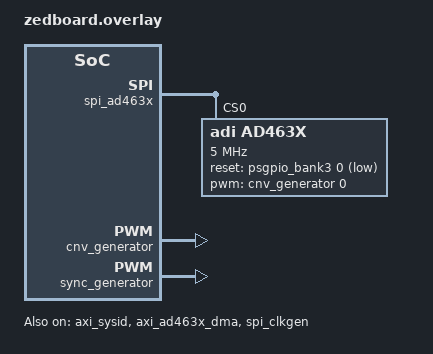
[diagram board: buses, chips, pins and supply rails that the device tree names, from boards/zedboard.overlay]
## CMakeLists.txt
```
cmake_minimum_required(VERSION 3.20.0)
find_package(Zephyr REQUIRED HINTS $ENV{ZEPHYR_BASE})
project(ad463x)

target_sources(app PRIVATE src/main.c)
```

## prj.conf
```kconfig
CONFIG_OTP=y
CONFIG_OTP_ADI_AXI_SYSID=y
CONFIG_CLOCK_CONTROL=y
CONFIG_CLOCK_CONTROL_ADI_AXI_CLKGEN=y
CONFIG_DMA=y
CONFIG_DMA_ADI_AXI_DMAC=y
CONFIG_PWM=y
CONFIG_PWM_ADI_AXI_PWMGEN=y
CONFIG_SPI=y
CONFIG_SPI_ADI_AXI_SPI_ENGINE=y
CONFIG_GPIO=y
CONFIG_ADC=y
CONFIG_ADC_AD463X=y
CONFIG_LOG=y
# Debug: synchronous logging so we see output up to the exact hang point,
# instead of deferred logs that never flush if boot hangs early.
CONFIG_LOG_MODE_IMMEDIATE=y
CONFIG_CACHE_MANAGEMENT=y
CONFIG_NOCACHE_MEMORY=y
```

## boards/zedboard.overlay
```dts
/*
 * Copyright (c) 2026 Analog Devices, Inc.
 * SPDX-License-Identifier: Apache-2.0
 *
 * AD4630-20 FMC card on Zedboard. Describes the AXI peripherals
 * synthesized in the PL alongside the AD4630 reference HDL design.
 */

#include <zephyr/dt-bindings/interrupt-controller/arm-gic.h>
#include <zephyr/dt-bindings/gpio/gpio.h>
#include <zephyr/dt-bindings/pwm/pwm.h>

/ {
	soc {
		axi_sysid: axi-sysid@45000000 {
			compatible = "adi,axi-sysid";
			reg = <0x45000000 0x10000>;
			status = "okay";
		};

		spi_ad463x: axi-spi-engine@44a00000 {
			compatible = "adi,axi-spi-engine";
			reg = <0x44a00000 0x10000>;
			#address-cells = <1>;
			#size-cells = <0>;
			adi,ref-clock-hz = <160000000>;
			adi,data-width = <8>;
			adi,num-cs = <1>;
			status = "okay";

			ad463x: ad463x@0 {
				compatible = "adi,ad463x";
				reg = <0>;
				spi-max-frequency = <5000000>;
				#address-cells = <1>;
				#size-cells = <0>;
				#io-channel-cells = <1>;
				adi,part = "ad4630-20";
				dmas = <&axi_ad463x_dma 0>;
				dma-names = "rx";
				clocks = <&spi_clkgen>;
				pwms = <&cnv_generator 0 500 PWM_POLARITY_NORMAL>;
				adi,vref-microvolts = <5000000>;
				adi,axi-clkgen-rate-hz = <160000000>;
				adi,sample-rate-hz = <2000000>;
				adi,lane-mode = "two";
				adi,clock-mode = "spi-compat";
				adi,output-mode = "24-diff-8-com";
				/* adi,avg-frame-len = <4>; */
				/* opt-in: 30-AVERAGED_DIFF; set AD463X_REAL_BITS to 30 */
				adi,data-rate = "sdr";
				reset-gpios = <&psgpio_bank3 0 GPIO_ACTIVE_LOW>;
				status = "okay";
			};
		};

		axi_ad463x_dma: axi-dmac@44a30000 {
			compatible = "adi,axi-dmac";
			reg = <0x44a30000 0x1000>;
			interrupts = <GIC_SPI 57 IRQ_TYPE_LEVEL
				      IRQ_DEFAULT_PRIORITY>;
			#dma-cells = <1>;
			status = "okay";
		};

		spi_clkgen: axi-clkgen@44a70000 {
			compatible = "adi,axi-clkgen";
			reg = <0x44a70000 0x10000>;
			clock-frequency = <100000000>;
			#clock-cells = <0>;
			status = "okay";
		};

		cnv_generator: axi-pwmgen@44b00000 {
			compatible = "adi,axi-pwmgen";
			reg = <0x44b00000 0x10000>;
			adi,ref-clock-hz = <100000000>;
			#pwm-cells = <3>;
			status = "okay";
		};

		sync_generator: axi-pwmgen@44c00000 {
			compatible = "adi,axi-pwmgen";
			reg = <0x44c00000 0x10000>;
			adi,ref-clock-hz = <100000000>;
			#pwm-cells = <3>;
			status = "okay";
		};
	};
};
```

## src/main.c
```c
/*
 * Copyright (c) 2026 Analog Devices, Inc.
 * SPDX-License-Identifier: Apache-2.0
 *
 * AD463x sample: capture conversion data from an AD4630/AD4631/AD4632
 * precision SAR ADC over the AXI offload data path
 * (PWMGEN CNV -> SPI Engine -> DMAC -> DDR) and print decoded codes for
 * both channels. First a one-shot batch, then continuous streaming.
 */

#include <stdio.h>
#include <zephyr/kernel.h>
#include <zephyr/device.h>
#include <zephyr/drivers/adc/ad463x.h>

#include "sysid_decode.h"

#define BATCH_SAMPLES  64
#define STREAM_SAMPLES 8

static uint32_t __nocache __aligned(32) batch_buf[BATCH_SAMPLES * 2];
static uint32_t __nocache __aligned(32) stream_buf[STREAM_SAMPLES * 2];

/*
 * The HDL left-aligns the real bits in each 32-bit word, so a code is
 * recovered with (int32_t)word >> (32 - real_bits). real_bits depends on
 * the driver's resolved adi,output-mode, so it is queried rather than
 * hardcoded here.
 */
static inline int32_t ad463x_code(const struct device *dev, uint32_t word)
{
	return (int32_t)word >> (32 - ad463x_get_real_bits(dev));
}

/* Print FPGA build information from the AXI System ID ROM, if one is present. */
static void print_board_info(void)
{
#if DT_NODE_EXISTS(DT_NODELABEL(axi_sysid))
	const struct device *sysid = DEVICE_DT_GET(DT_NODELABEL(axi_sysid));
	struct sysid_board_info info;

	if (!device_is_ready(sysid) || sysid_get_board_info(sysid, &info) != 0) {
		return;
	}

	printf("FPGA design: %s / %s (git %.12s%s)\n", info.board[0] ? info.board : "unknown",
	       info.product[0] ? info.product : "unknown",
	       info.git_hash[0] ? info.git_hash : "unknown", info.git_clean ? "" : "-dirty");
#endif
}

/* One-shot batch capture: fill batch_buf, then decode and print every sample. */
static int batch_capture(const struct device *dev)
{
	size_t frame = ad463x_get_frame_size(dev);
	ssize_t got;
	int n;

	printf("\n=== Batch capture (%d samples) ===\n", BATCH_SAMPLES);

	got = ad463x_read_buffer(dev, batch_buf, sizeof(batch_buf));
	if (got < 0) {
		printf("read_buffer failed: %d\n", (int)got);
		return (int)got;
	}

	n = (int)((size_t)got / frame);
	printf("%-12s %s\n", "channel 0", "channel 1");
	for (int i = 0; i < n; i++) {
		printf("%-12d %d\n", ad463x_code(dev, batch_buf[2 * i]),
		       ad463x_code(dev, batch_buf[2 * i + 1]));
	}

	return 0;
}

/* Continuous streaming: capture back-to-back bursts and print each one. */
static void stream_loop(const struct device *dev)
{
	size_t frame = ad463x_get_frame_size(dev);

	printf("\n=== Continuous stream ===\n");
	printf("%-12s %s\n", "channel 0", "channel 1");

	while (1) {
		ssize_t got = ad463x_read_buffer(dev, stream_buf, sizeof(stream_buf));

		if (got < 0) {
			printf("read_buffer failed: %d\n", (int)got);
			k_msleep(500);
			continue;
		}

		int n = (int)((size_t)got / frame);

		for (int i = 0; i < n; i++) {
			printf("%-12d %d\n", ad463x_code(dev, stream_buf[2 * i]),
			       ad463x_code(dev, stream_buf[2 * i + 1]));
		}

		k_msleep(500);
	}
}

int main(void)
{
	const struct device *dev = DEVICE_DT_GET(DT_NODELABEL(ad463x));

	if (!device_is_ready(dev)) {
		printf("AD463x device not ready\n");
		return 0;
	}

	print_board_info();

	if (batch_capture(dev) == 0) {
		stream_loop(dev);
	}

	return 0;
}
```

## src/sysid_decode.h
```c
/*
 * Copyright (c) 2026 Analog Devices, Inc.
 * SPDX-License-Identifier: Apache-2.0
 *
 * ADI AXI System ID ROM decode helper.
 *
 * The AXI System ID core is exposed by Zephyr as a read-only OTP (the
 * transport). The ROM *format* — header, build-info records and checksums —
 * is decoded here, on top of the standard otp_read() API, so the ROM-format
 * knowledge lives with the consumer instead of inside the transport driver.
 */

#ifndef AD463X_SAMPLE_SYSID_DECODE_H_
#define AD463X_SAMPLE_SYSID_DECODE_H_

#include <string.h>
#include <zephyr/device.h>
#include <zephyr/drivers/otp.h>

#define SYSID_HEADER_V1 1
#define SYSID_HEADER_V2 2

struct __packed sysid_header_v1 {
	uint32_t version;
	uint32_t build_info_offs; /* word offset into ROM */
	uint32_t board_info_offs;
	uint32_t product_info_offs;
	uint32_t custom_info_offs;
	uint32_t pr_custom_info_offs;
	uint32_t padding[9];
	uint32_t crc;
};

struct __packed sysid_build_info_v1 {
	char git_hash[44];
	char git_clean_chk[4];
	char vadj_chk[4];
	char epoch[12];
	uint8_t padding[4];
	uint32_t crc;
};

struct __packed sysid_build_info_v1_1 {
	char git_branch[28];
	char git_hash[44];
	char git_clean_chk[4];
	char vadj_chk[4];
	char epoch[12];
	uint8_t padding[4];
	uint32_t crc;
};

struct sysid_board_info {
	uint32_t header_version;
	char board[64];
	char product[64];
	char git_hash[45];
	char git_branch[29];
	bool git_clean;
};

static inline uint8_t sysid_checksum(const uint8_t *ptr, size_t len)
{
	uint8_t sum = 0;

	while (len-- != 0) {
		sum -= *ptr++;
	}

	return sum;
}

/*
 * Read a NUL-terminated string starting at ROM byte offset into dst (bounded).
 * A zero offset means "absent"; returns 0 on success, negative errno on error.
 * otp_read() itself rejects reads past the ROM end (the driver bounds-checks
 * against the DT reg size), so no separate size query is needed here.
 */
static inline int sysid_read_str(const struct device *otp, off_t offset, char *dst, size_t dst_size)
{
	dst[0] = '\0';

	if (offset == 0) {
		return 0;
	}

	for (size_t i = 0; i < dst_size - 1; i++) {
		char c;
		int ret = otp_read(otp, offset + i, &c, 1);

		if (ret < 0) {
			return (i == 0) ? ret : 0;
		}
		if (c == '\0') {
			dst[i] = '\0';
			return 0;
		}
		dst[i] = c;
	}

	dst[dst_size - 1] = '\0';
	return 0;
}

/*
 * Decode board/product/git information from the System ID ROM behind the given
 * read-only OTP device. Returns 0 on success, negative errno on failure.
 */
static inline int sysid_get_board_info(const struct device *otp, struct sysid_board_info *info)
{
	struct sysid_header_v1 header;
	int ret;

	memset(info, 0, sizeof(*info));

	ret = otp_read(otp, 0, &header, sizeof(header));
	if (ret < 0) {
		return ret;
	}

	if (sysid_checksum((const uint8_t *)&header, sizeof(header)) != 0) {
		return -EFAULT;
	}

	if (header.version != SYSID_HEADER_V1 && header.version != SYSID_HEADER_V2) {
		return -ENOTSUP;
	}
	info->header_version = header.version;

	ret = sysid_read_str(otp, (off_t)header.board_info_offs * sizeof(uint32_t), info->board,
			     sizeof(info->board));
	if (ret < 0) {
		return ret;
	}

	ret = sysid_read_str(otp, (off_t)header.product_info_offs * sizeof(uint32_t), info->product,
			     sizeof(info->product));
	if (ret < 0) {
		return ret;
	}

	if (header.build_info_offs == 0) {
		return -EFAULT;
	}

	off_t build_off = (off_t)header.build_info_offs * sizeof(uint32_t);

	if (header.version == SYSID_HEADER_V2) {
		struct sysid_build_info_v1_1 build;

		ret = otp_read(otp, build_off, &build, sizeof(build));
		if (ret < 0) {
			return ret;
		}
		if (sysid_checksum((const uint8_t *)&build, sizeof(build)) != 0) {
			return -EFAULT;
		}
		memcpy(info->git_hash, build.git_hash, sizeof(build.git_hash));
		memcpy(info->git_branch, build.git_branch, sizeof(build.git_branch));
		info->git_clean = (build.git_clean_chk[0] == 't');
	} else {
		struct sysid_build_info_v1 build;

		ret = otp_read(otp, build_off, &build, sizeof(build));
		if (ret < 0) {
			return ret;
		}
		if (sysid_checksum((const uint8_t *)&build, sizeof(build)) != 0) {
			return -EFAULT;
		}
		memcpy(info->git_hash, build.git_hash, sizeof(build.git_hash));
		info->git_clean = (build.git_clean_chk[0] == 't');
	}

	return 0;
}

#endif /* AD463X_SAMPLE_SYSID_DECODE_H_ */
```
